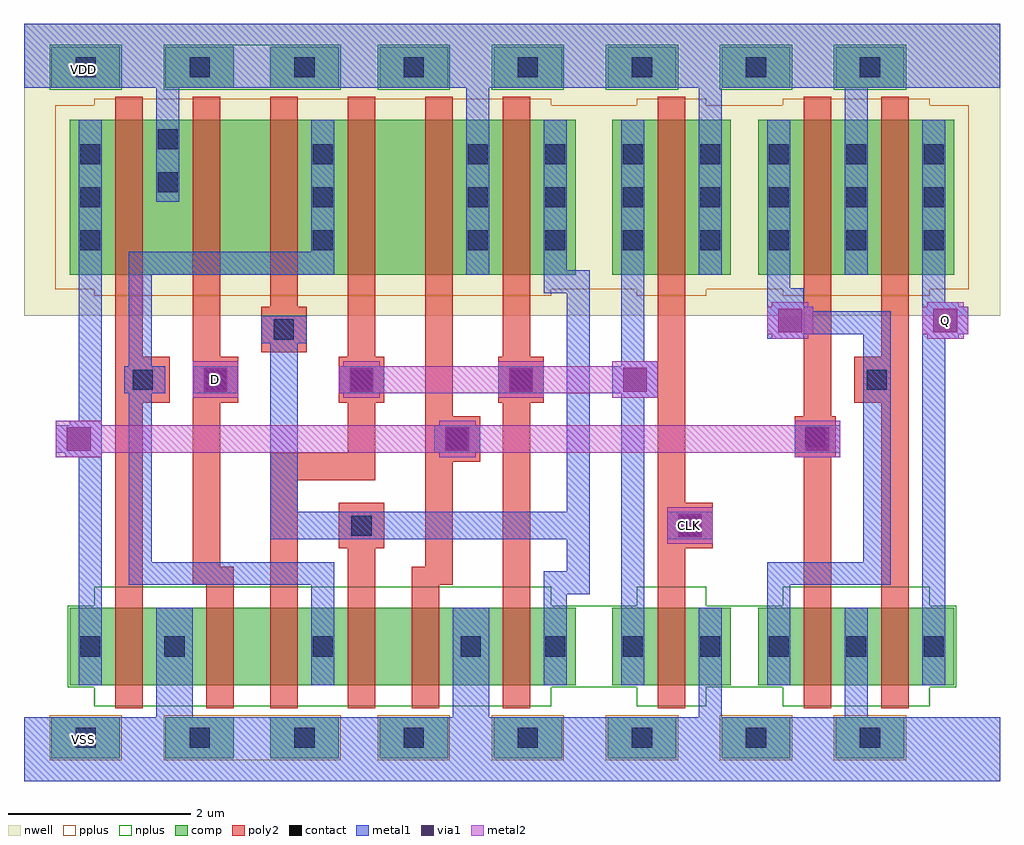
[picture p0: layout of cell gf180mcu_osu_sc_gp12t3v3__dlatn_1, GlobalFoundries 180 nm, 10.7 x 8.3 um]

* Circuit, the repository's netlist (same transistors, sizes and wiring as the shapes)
* Copyright 2022 Google LLC
*
* Licensed under the Apache License, Version 2.0 (the "License");
* you may not use this file except in compliance with the License.
* You may obtain a copy of the License at
*
*      http://www.apache.org/licenses/LICENSE-2.0
*
* Unless required by applicable law or agreed to in writing, software
* distributed under the License is distributed on an "AS IS" BASIS,
* WITHOUT WARRANTIES OR CONDITIONS OF ANY KIND, either express or implied.
* See the License for the specific language governing permissions and
* limitations under the License.

* NGSPICE file created from gf180mcu_osu_sc_gp12t3v3__dlatn_1.ext - technology: gf180mcuC

.subckt gf180mcu_osu_sc_gp12t3v3__dlatn_1 D Q CLK VDD VSS
X0 VDD CLK a_54_16# VDD pfet_03p3 w=1.7u l=0.3u
X1 Q a_161_21# VSS VSS nfet_03p3 w=0.85u l=0.3u
X2 a_52_94# a_54_16# VDD VDD pfet_03p3 w=1.7u l=0.3u
X3 VSS CLK a_54_16# VSS nfet_03p3 w=0.85u l=0.3u
X4 VSS a_10_21# a_161_21# VSS nfet_03p3 w=0.85u l=0.3u
X5 a_46_21# D VSS VSS nfet_03p3 w=0.85u l=0.3u
X6 a_20_16# a_54_16# a_46_21# VSS nfet_03p3 w=0.85u l=0.3u
X7 a_77_111# a_54_16# a_20_16# VDD pfet_03p3 w=1.7u l=0.3u
X8 VDD a_10_21# a_77_111# VDD pfet_03p3 w=1.7u l=0.3u
X9 a_20_16# a_52_94# a_43_111# VDD pfet_03p3 w=1.7u l=0.3u
X10 VDD a_20_16# a_10_21# VDD pfet_03p3 w=1.7u l=0.3u
X11 a_43_111# D VDD VDD pfet_03p3 w=1.7u l=0.3u
X12 Q a_161_21# VDD VDD pfet_03p3 w=1.7u l=0.3u
X13 VDD a_10_21# a_161_21# VDD pfet_03p3 w=1.7u l=0.3u
X14 a_77_21# a_52_94# a_20_16# VSS nfet_03p3 w=0.85u l=0.3u
X15 VSS a_10_21# a_77_21# VSS nfet_03p3 w=0.85u l=0.3u
X16 a_52_94# a_54_16# VSS VSS nfet_03p3 w=0.85u l=0.3u
X17 VSS a_20_16# a_10_21# VSS nfet_03p3 w=0.85u l=0.3u
.ends

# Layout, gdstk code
import gdstk
lib = gdstk.Library(unit=1e-6, precision=1e-09)
def R(c, l, rs):  # rectangles x0, y0, x1, y1
    for r in rs: c.add(gdstk.rectangle(r[:2], r[2:], *l))
def A(c, l, x, y, w, h, nx, ny, dx, dy):  # array of equal rectangles
    R(c, l, [(x+i*dx, y+j*dy, x+i*dx+w, y+j*dy+h) for i in range(nx) for j in range(ny)])
nwell = (21, 0)
comp = (22, 0)
poly2 = (30, 0)
pplus = (31, 0)
nplus = (32, 0)
contact = (33, 0)
metal1 = (34, 0)
via1 = (35, 0)
metal2 = (36, 0)

gf180mcu_osu_sc_gp12t3v3 = lib.new_cell('gf180mcu_osu_sc_gp12t3v3__dlatn_1')
R(gf180mcu_osu_sc_gp12t3v3, nwell, [(0,5.1,10.7,8.3)])
A(gf180mcu_osu_sc_gp12t3v3, comp, 3.9, 0.25, 0.75, 0.45, 5, 2, 1.25, 7.35)
R(gf180mcu_osu_sc_gp12t3v3, comp, [(0.3,0.25,1.05,0.7), (1.55,0.25,2.3,0.7), (2.7,0.25,3.45,0.7), (0.5,1.05,6.05,1.9), (6.45,1.05,7.75,1.9), (8.05,1.05,10.2,1.9), (0.5,5.55,6.05,7.25), (6.45,5.55,7.75,7.25), (8.05,5.55,10.2,7.25), (0.3,7.6,1.05,8.05), (1.55,7.6,2.3,8.05), (2.7,7.6,3.45,8.05)])
A(gf180mcu_osu_sc_gp12t3v3, poly2, 1.85, 4.65, 0.3, 2.85, 3, 1, 1.7, 0)
R(gf180mcu_osu_sc_gp12t3v3, poly2, [(1,0.8,1.3,4.15), (2,0.8,2.3,2.15), (2.7,0.8,3,3.3), (3.55,0.8,3.85,2.55), (4.25,0.8,4.55,2.15), (5.25,0.8,5.55,4.15), (6.95,0.8,7.25,2.55), (8.55,0.8,8.85,3.55), (9.4,0.8,9.7,4.15), (1.85,2.15,2.3,2.35), (4.25,2.15,4.7,2.35), (1.85,2.35,2.15,4.15), (4.4,2.35,4.7,3.5), (3.45,2.55,3.95,3.05), (6.95,2.55,7.55,3.05), (6.95,3.05,7.25,7.5), (2.7,3.3,3.85,3.6), (4.4,3.5,5,4), (8.45,3.55,8.9,4), (3.55,3.6,3.85,4.15), (4.4,4,4.7,7.5), (8.55,4,8.85,7.5), (1,4.15,1.6,4.65), (1.85,4.15,2.35,4.65), (3.45,4.15,3.95,4.65), (5.2,4.15,5.7,4.65), (9.1,4.15,9.7,4.65), (1,4.65,1.3,7.5), (9.4,4.65,9.7,7.5), (2.6,4.7,3.1,5.2), (2.7,5.2,3,7.5)])
A(gf180mcu_osu_sc_gp12t3v3, pplus, 3.88, 0.23, 0.79, 0.49, 5, 1, 1.25, 0)
R(gf180mcu_osu_sc_gp12t3v3, pplus, [(0.28,0.23,1.07,0.72), (1.53,0.23,3.47,0.72), (0.77,5.32,5.78,5.39), (6.72,5.32,7.48,5.39), (8.32,5.32,9.93,5.39), (0.34,5.39,10.36,7.41), (0.77,7.41,5.78,7.48), (6.72,7.41,7.48,7.48), (8.32,7.41,9.93,7.48)])
A(gf180mcu_osu_sc_gp12t3v3, nplus, 3.88, 7.58, 0.79, 0.49, 5, 1, 1.25, 0)
R(gf180mcu_osu_sc_gp12t3v3, nplus, [(0.77,0.82,5.78,1.03), (6.72,0.82,7.48,1.03), (8.32,0.82,9.93,1.03), (0.48,1.03,10.22,1.92), (0.77,1.92,5.78,2.13), (6.72,1.92,7.48,2.13), (8.32,1.92,9.93,2.13), (0.28,7.58,1.07,8.07), (1.53,7.58,3.47,8.07)])
A(gf180mcu_osu_sc_gp12t3v3, contact, 4.165, 0.365, 0.22, 0.22, 5, 2, 1.25, 7.35)
A(gf180mcu_osu_sc_gp12t3v3, contact, 1.54, 1.365, 0.22, 0.22, 3, 1, 1.625, 0)
A(gf180mcu_osu_sc_gp12t3v3, contact, 5.715, 1.365, 0.22, 0.22, 3, 1, 0.85, 0)
A(gf180mcu_osu_sc_gp12t3v3, contact, 8.165, 1.365, 0.22, 0.22, 3, 2, 0.85, 4.455)
A(gf180mcu_osu_sc_gp12t3v3, contact, 0.615, 5.82, 0.22, 0.22, 1, 3, 0, 0.47)
A(gf180mcu_osu_sc_gp12t3v3, contact, 3.165, 5.82, 0.22, 0.22, 1, 3, 0, 0.47)
A(gf180mcu_osu_sc_gp12t3v3, contact, 4.865, 5.82, 0.22, 0.22, 4, 3, 0.85, 0.47)
A(gf180mcu_osu_sc_gp12t3v3, contact, 8.165, 6.29, 0.22, 0.22, 3, 2, 0.85, 0.47)
R(gf180mcu_osu_sc_gp12t3v3, contact, [(0.565,0.365,0.785,0.585), (1.815,0.365,2.035,0.585), (2.965,0.365,3.185,0.585), (0.615,1.365,0.835,1.585), (3.59,2.69,3.81,2.91), (7.19,2.69,7.41,2.91), (4.64,3.64,4.86,3.86), (8.565,3.665,8.785,3.885), (1.19,4.29,1.41,4.51), (1.99,4.29,2.21,4.51), (3.59,4.29,3.81,4.51), (5.34,4.29,5.56,4.51), (9.24,4.29,9.46,4.51), (2.74,4.84,2.96,5.06), (1.465,6.455,1.685,6.675), (1.465,6.925,1.685,7.145), (0.565,7.715,0.785,7.935), (1.815,7.715,2.035,7.935), (2.965,7.715,3.185,7.935)])
R(gf180mcu_osu_sc_gp12t3v3, metal1, [(0,0,10.7,0.7), (1.45,0.7,1.85,1.9), (4.7,0.7,5.1,1.9), (7.4,0.7,7.65,1.9), (9,0.7,9.25,1.9), (0.6,1.05,0.85,3.55), (3.15,1.05,3.4,2.15), (5.7,1.05,5.95,2.05), (6.55,1.05,6.8,4.2), (8.15,1.05,8.4,2.15), (9.85,1.05,10.1,4.85), (5.7,2.05,6.2,2.3), (1.15,2.15,3.4,2.4), (8.15,2.15,9.5,2.4), (5.95,2.3,6.2,2.65), (1.15,2.4,1.4,4.25), (9.2,2.4,9.5,4.9), (2.7,2.65,6.2,2.95), (7.05,2.65,7.55,2.95), (2.7,2.95,3,4.8), (5.95,2.95,6.2,5.35), (0.45,3.55,0.85,3.6), (0.35,3.6,0.85,3.9), (4.5,3.6,5,3.9), (8.45,3.6,8.95,3.9), (0.5,3.9,0.85,3.95), (0.6,3.95,0.85,7.25), (6.55,4.2,6.95,4.25), (1.1,4.25,1.55,4.55), (1.85,4.25,2.35,4.55), (3.45,4.25,3.95,4.55), (5.2,4.25,5.7,4.55), (6.45,4.25,6.95,4.55), (1.15,4.55,1.4,5.55), (6.55,4.55,6.95,4.6), (6.55,4.6,6.8,7.25), (2.6,4.8,3.1,5.1), (8.15,4.85,8.55,4.9), (9.85,4.85,10.25,4.9), (8.15,4.9,9.5,5.15), (9.85,4.9,10.35,5.2), (8.15,5.15,8.65,5.2), (8.15,5.2,8.55,5.4), (9.85,5.2,10.25,5.25), (9.85,5.25,10.1,7.25), (5.7,5.35,6.2,5.6), (8.15,5.4,8.4,7.25), (1.15,5.55,3.4,5.8), (4.85,5.55,5.1,7.6), (7.4,5.55,7.65,7.6), (9,5.55,9.25,7.6), (5.7,5.6,5.95,7.25), (3.15,5.8,3.4,7.25), (1.45,6.35,1.7,7.6), (0,7.6,10.7,8.3)])
R(gf180mcu_osu_sc_gp12t3v3, via1, [(7.17,2.67,7.43,2.93), (0.47,3.62,0.73,3.88), (4.62,3.62,4.88,3.88), (8.57,3.62,8.83,3.88), (1.97,4.27,2.23,4.53), (3.57,4.27,3.83,4.53), (5.32,4.27,5.58,4.53), (6.57,4.27,6.83,4.53), (8.27,4.92,8.53,5.18), (9.97,4.92,10.23,5.18)])
R(gf180mcu_osu_sc_gp12t3v3, metal2, [(7.05,2.6,7.55,3), (0.35,3.55,0.85,3.6), (4.55,3.55,4.95,3.6), (8.45,3.55,8.95,3.6), (0.35,3.6,8.95,3.9), (0.35,3.9,0.85,3.95), (4.55,3.9,4.95,3.95), (8.45,3.9,8.95,3.95), (1.85,4.2,2.35,4.6), (3.5,4.2,3.9,4.25), (5.2,4.2,5.7,4.25), (6.45,4.2,6.95,4.25), (3.45,4.25,6.95,4.55), (3.5,4.55,3.9,4.6), (5.2,4.55,5.7,4.6), (6.45,4.55,6.95,4.6), (8.2,4.85,8.6,4.9), (9.9,4.85,10.3,4.9), (8.15,4.9,8.65,5.2), (9.85,4.9,10.35,5.2), (8.2,5.2,8.6,5.25), (9.9,5.2,10.3,5.25)])
gf180mcu_osu_sc_gp12t3v3.add(gdstk.Label('D', (2.1,4.4), layer=36, texttype=10))
gf180mcu_osu_sc_gp12t3v3.add(gdstk.Label('Q', (10.1,5.05), layer=36, texttype=10))
gf180mcu_osu_sc_gp12t3v3.add(gdstk.Label('CLK', (7.3,2.8), layer=36, texttype=10))
gf180mcu_osu_sc_gp12t3v3.add(gdstk.Label('VDD', (0.65,7.8), layer=34, texttype=10))
gf180mcu_osu_sc_gp12t3v3.add(gdstk.Label('VSS', (0.65,0.45), layer=34, texttype=10))

lib.write_gds('gf180mcu_osu_sc_gp12t3v3__dlatn_1.gds')
